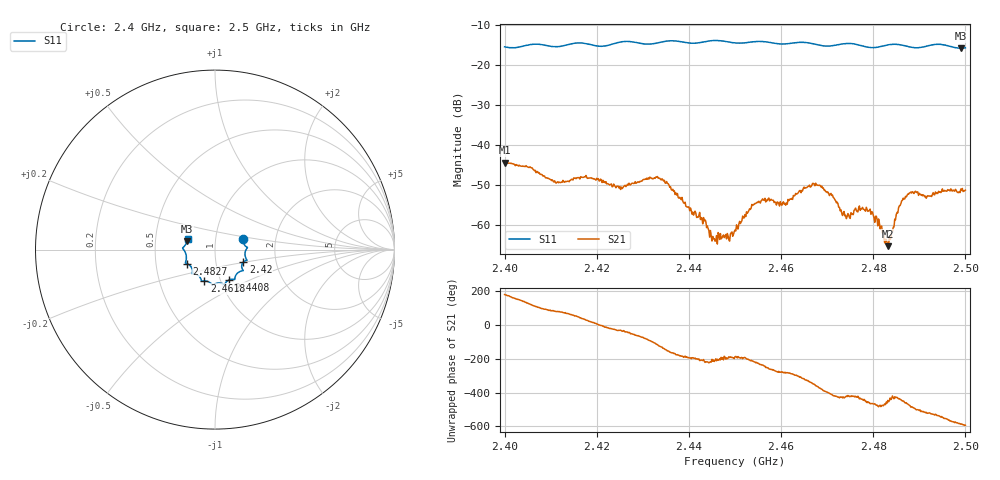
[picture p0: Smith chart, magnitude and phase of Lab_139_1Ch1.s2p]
# Hz S RI R 50
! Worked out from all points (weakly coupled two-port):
!   601 points, 2.4 GHz to 2.5 GHz, reference 50 ohm
!   highest |S21| = -44.37 dB at 2.4 GHz (marker M1); lowest = -65.2 dB at 2.4832 GHz (marker M2)
!   lowest |S11| = -15.8 dB at 2.499 GHz (marker M3), VSWR 1.38, Z = 36.5 + j3.51 ohm
!   |S11| at or under -10 dB: start of sweep to end of sweep
!   S12 and S22 are empty: the file has one direction only
!   S11 on the Smith chart (normalised r, x): 2.4 GHz: 1.36, +0.17; 2.42 GHz: 1.36, -0.19; 2.4408 GHz: 1.10, -0.39; 2.4618 GHz: 0.84, -0.30; 2.4827 GHz: 0.72, -0.12; 2.5 GHz: 0.73, +0.09
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2.4e9  0.1562 0.0618  -0.00605 4.88e-05  0 0  0 0
2.411167e9  0.1673 -0.0196  0.000627 0.00331  0 0  0 0
2.416667e9  0.1782 -0.0595  0.00313 0.00247  0 0  0 0
2.42e9  0.1579 -0.0691  0.00384 0.000387  0 0  0 0
2.425333e9  0.156 -0.1152  0.00248 -0.00169  0 0  0 0
2.433333e9  0.1122 -0.1521  -0.00197 -0.00333  0 0  0 0
2.440833e9  0.0789 -0.1689  -0.00142 0.000351  0 0  0 0
2.445333e9  0.0528 -0.1942  -0.000605 0.00031  0 0  0 0
2.45e9  0.0279 -0.1859  -0.000866 0.000123  0 0  0 0
2.454167e9  -0.00785 -0.1947  -0.00143 0.00114  0 0  0 0
2.461833e9  -0.0601 -0.1752  0.000495 0.00204  0 0  0 0
2.466667e9  -0.0769 -0.1684  0.003 0.000976  0 0  0 0
2.471167e9  -0.1069 -0.1367  0.00136 -0.00195  0 0  0 0
2.473833e9  -0.125 -0.1354  0.000484 -0.00122  0 0  0 0
2.4795e9  -0.1314 -0.0988  -0.000358 -0.00133  0 0  0 0
2.482667e9  -0.1571 -0.0779  -0.000244 -0.000628  0 0  0 0
2.483167e9  -0.1603 -0.0766  3.43e-05 -0.000549  0 0  0 0
2.483333e9  -0.1612 -0.0763  -4.31e-05 -0.000584  0 0  0 0
2.486e9  -0.1639 -0.0686  0.000255 -0.00185  0 0  0 0
2.487833e9  -0.1597 -0.0518  -0.00104 -0.00231  0 0  0 0
2.499e9  -0.1544 0.0469  -0.00193 0.00208  0 0  0 0
2.5e9  -0.1517 0.0614  -0.00167 0.00219  0 0  0 0
